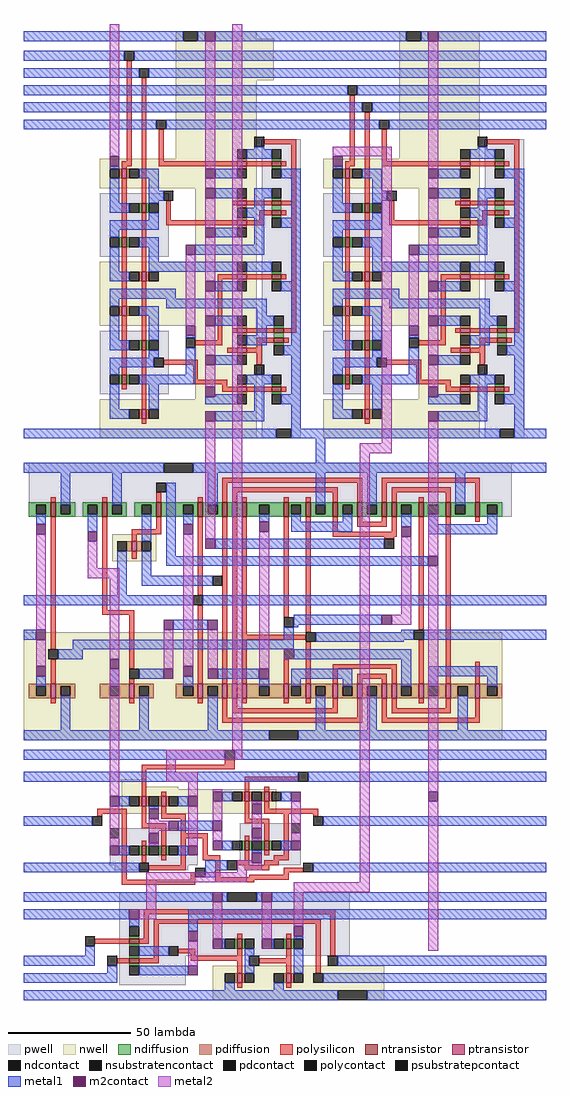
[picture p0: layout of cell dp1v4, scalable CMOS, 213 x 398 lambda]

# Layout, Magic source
magic
tech scmos
<< metal1 >>
rect 166 159 175 163
rect 166 151 175 155
rect 166 144 175 148
rect 166 137 175 141
rect 166 130 175 134
rect 166 123 175 127
rect 166 -3 175 1
rect 166 -17 175 -13
rect 166 -71 175 -67
rect 166 -85 175 -81
rect 156 -126 175 -122
rect 165 -134 175 -130
rect 165 -143 175 -139
rect 127 -161 131 -157
rect 165 -161 175 -157
rect 165 -180 175 -176
rect 159 -192 175 -188
rect 159 -199 175 -195
rect 159 -218 175 -214
rect 159 -225 175 -221
rect 159 -232 175 -228
<< metal2 >>
rect -3 163 1 166
rect 47 159 51 166
rect 36 -7 40 -2
rect 47 -8 51 -3
rect 108 -5 112 -3
rect 99 -9 112 -5
rect 127 -7 131 -3
rect 127 -147 131 -55
rect 127 -212 131 -151
<< m2contact >>
rect 127 -151 131 -147
use reg1  reg1_0
transform 1 0 106 0 1 173
box -144 -176 -18 -10
use rr1  rr1_0
transform 1 0 197 0 1 173
box -113 -176 -31 -10
use mux1  mux1_0
transform 1 0 102 0 1 -161
box -140 -31 64 31
use dp1v2  shift1_0
transform 1 0 11 0 1 -12
box -49 -220 155 13
<< end >>

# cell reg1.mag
magic
tech scmos
<< pwell >>
rect -113 -102 -85 -76
rect -113 -158 -85 -132
rect -47 -176 -31 -54
<< nwell >>
rect -82 -13 -49 -10
rect -82 -30 -42 -13
rect -82 -62 -49 -30
rect -113 -74 -49 -62
rect -74 -104 -49 -74
rect -113 -130 -49 -104
rect -74 -160 -49 -130
rect -113 -176 -49 -160
<< polysilicon >>
rect -102 -63 -100 -22
rect -104 -65 -100 -63
rect -104 -66 -102 -65
rect -104 -94 -102 -70
rect -96 -80 -94 -29
rect -89 -63 -87 -50
rect -46 -56 -33 -54
rect -89 -65 -57 -63
rect -53 -65 -43 -63
rect -39 -65 -37 -63
rect -35 -79 -33 -56
rect -104 -122 -102 -98
rect -96 -108 -94 -84
rect -86 -87 -84 -79
rect -59 -81 -57 -79
rect -53 -81 -43 -79
rect -39 -81 -33 -79
rect -48 -85 -43 -83
rect -39 -85 -37 -83
rect -48 -87 -46 -85
rect -86 -89 -57 -87
rect -53 -89 -46 -87
rect -65 -111 -57 -109
rect -53 -111 -43 -109
rect -39 -111 -37 -109
rect -104 -150 -102 -126
rect -96 -136 -94 -112
rect -65 -136 -63 -111
rect -35 -131 -33 -81
rect -59 -133 -57 -131
rect -53 -133 -42 -131
rect -38 -133 -33 -131
rect -74 -138 -63 -136
rect -49 -137 -42 -135
rect -38 -137 -36 -135
rect -49 -139 -47 -137
rect -104 -156 -102 -154
rect -96 -164 -94 -140
rect -61 -141 -57 -139
rect -53 -141 -47 -139
rect -87 -146 -73 -144
rect -49 -146 -47 -141
rect -75 -152 -73 -146
rect -75 -154 -61 -152
rect -63 -155 -61 -154
rect -63 -157 -57 -155
rect -53 -157 -43 -155
rect -39 -157 -37 -155
rect -96 -170 -94 -168
<< ndiffusion >>
rect -43 -63 -39 -62
rect -43 -66 -39 -65
rect -43 -79 -39 -78
rect -97 -84 -96 -80
rect -94 -84 -93 -80
rect -105 -98 -104 -94
rect -102 -98 -101 -94
rect -43 -83 -39 -81
rect -43 -86 -39 -85
rect -43 -109 -39 -108
rect -97 -140 -96 -136
rect -94 -140 -93 -136
rect -43 -112 -39 -111
rect -42 -131 -38 -130
rect -42 -135 -38 -133
rect -105 -154 -104 -150
rect -102 -154 -101 -150
rect -42 -138 -38 -137
rect -43 -155 -39 -154
rect -43 -158 -39 -157
<< pdiffusion >>
rect -105 -70 -104 -66
rect -102 -70 -101 -66
rect -57 -63 -53 -62
rect -57 -66 -53 -65
rect -57 -79 -53 -78
rect -57 -82 -53 -81
rect -57 -87 -53 -86
rect -57 -90 -53 -89
rect -97 -112 -96 -108
rect -94 -112 -93 -108
rect -57 -109 -53 -108
rect -105 -126 -104 -122
rect -102 -126 -101 -122
rect -57 -112 -53 -111
rect -57 -131 -53 -130
rect -57 -134 -53 -133
rect -57 -139 -53 -138
rect -57 -142 -53 -141
rect -57 -155 -53 -154
rect -57 -158 -53 -157
rect -97 -168 -96 -164
rect -94 -168 -93 -164
<< metal1 >>
rect -144 -14 -79 -10
rect -73 -14 -70 -10
rect -66 -14 -19 -10
rect -144 -22 -103 -18
rect -99 -22 -19 -18
rect -144 -29 -97 -25
rect -93 -29 -22 -25
rect -144 -36 -19 -32
rect -144 -43 -18 -39
rect -144 -50 -90 -46
rect -86 -50 -19 -46
rect -50 -58 -46 -57
rect -53 -62 -43 -58
rect -109 -66 -105 -65
rect -97 -70 -89 -66
rect -66 -70 -57 -66
rect -39 -70 -31 -66
rect -109 -80 -105 -70
rect -93 -75 -89 -70
rect -93 -79 -87 -75
rect -66 -78 -57 -74
rect -50 -78 -43 -74
rect -93 -80 -89 -79
rect -109 -84 -101 -80
rect -50 -82 -46 -78
rect -93 -87 -89 -84
rect -53 -86 -46 -82
rect -35 -86 -31 -70
rect -109 -91 -89 -87
rect -109 -94 -105 -91
rect -66 -94 -57 -90
rect -97 -98 -89 -94
rect -50 -97 -46 -86
rect -39 -90 -31 -86
rect -109 -108 -105 -98
rect -93 -104 -89 -98
rect -74 -101 -46 -97
rect -93 -108 -57 -104
rect -53 -108 -43 -104
rect -109 -112 -101 -108
rect -35 -112 -31 -90
rect -109 -119 -82 -115
rect -66 -116 -57 -112
rect -39 -116 -31 -112
rect -109 -122 -105 -119
rect -97 -126 -89 -122
rect -86 -123 -45 -119
rect -49 -126 -45 -123
rect -109 -136 -105 -126
rect -93 -136 -89 -126
rect -66 -130 -57 -126
rect -49 -130 -42 -126
rect -109 -140 -101 -136
rect -93 -143 -89 -140
rect -49 -134 -45 -130
rect -78 -135 -74 -134
rect -53 -138 -45 -134
rect -35 -138 -31 -116
rect -109 -147 -91 -143
rect -109 -150 -105 -147
rect -78 -150 -74 -139
rect -38 -142 -31 -138
rect -66 -146 -57 -142
rect -97 -154 -74 -150
rect -53 -154 -43 -150
rect -109 -164 -105 -154
rect -93 -164 -89 -154
rect -66 -159 -57 -158
rect -70 -162 -57 -159
rect -109 -168 -101 -164
rect -50 -165 -46 -154
rect -35 -158 -31 -142
rect -39 -162 -31 -158
rect -66 -169 -46 -165
rect -144 -176 -41 -172
rect -35 -176 -31 -162
<< metal2 >>
rect -109 -61 -105 -10
rect -70 -66 -66 -14
rect -70 -74 -66 -70
rect -70 -90 -66 -78
rect -78 -130 -74 -101
rect -70 -112 -66 -94
rect -70 -126 -66 -116
rect -70 -142 -66 -130
rect -70 -155 -66 -146
rect -70 -176 -66 -169
rect -59 -176 -55 -10
<< ntransistor >>
rect -43 -65 -39 -63
rect -96 -84 -94 -80
rect -104 -98 -102 -94
rect -43 -81 -39 -79
rect -43 -85 -39 -83
rect -43 -111 -39 -109
rect -96 -140 -94 -136
rect -42 -133 -38 -131
rect -42 -137 -38 -135
rect -104 -154 -102 -150
rect -43 -157 -39 -155
<< ptransistor >>
rect -104 -70 -102 -66
rect -57 -65 -53 -63
rect -57 -81 -53 -79
rect -57 -89 -53 -87
rect -96 -112 -94 -108
rect -57 -111 -53 -109
rect -104 -126 -102 -122
rect -57 -133 -53 -131
rect -57 -141 -53 -139
rect -57 -157 -53 -155
rect -96 -168 -94 -164
<< polycontact >>
rect -103 -22 -99 -18
rect -97 -29 -93 -25
rect -90 -50 -86 -46
rect -50 -57 -46 -53
rect -87 -79 -83 -75
rect -78 -139 -74 -135
rect -91 -147 -87 -143
rect -50 -150 -46 -146
<< ndcontact >>
rect -43 -62 -39 -58
rect -43 -70 -39 -66
rect -43 -78 -39 -74
rect -101 -84 -97 -80
rect -93 -84 -89 -80
rect -109 -98 -105 -94
rect -101 -98 -97 -94
rect -43 -90 -39 -86
rect -43 -108 -39 -104
rect -101 -140 -97 -136
rect -93 -140 -89 -136
rect -43 -116 -39 -112
rect -42 -130 -38 -126
rect -109 -154 -105 -150
rect -101 -154 -97 -150
rect -42 -142 -38 -138
rect -43 -154 -39 -150
rect -43 -162 -39 -158
<< pdcontact >>
rect -109 -70 -105 -66
rect -101 -70 -97 -66
rect -57 -62 -53 -58
rect -57 -70 -53 -66
rect -57 -78 -53 -74
rect -57 -86 -53 -82
rect -57 -94 -53 -90
rect -57 -108 -53 -104
rect -101 -112 -97 -108
rect -93 -112 -89 -108
rect -109 -126 -105 -122
rect -101 -126 -97 -122
rect -57 -116 -53 -112
rect -57 -130 -53 -126
rect -57 -138 -53 -134
rect -57 -146 -53 -142
rect -57 -154 -53 -150
rect -57 -162 -53 -158
rect -101 -168 -97 -164
rect -93 -168 -89 -164
<< m2contact >>
rect -70 -14 -66 -10
rect -109 -65 -105 -61
rect -70 -70 -66 -66
rect -70 -78 -66 -74
rect -70 -94 -66 -90
rect -78 -101 -74 -97
rect -70 -116 -66 -112
rect -70 -130 -66 -126
rect -78 -134 -74 -130
rect -70 -146 -66 -142
rect -70 -159 -66 -155
rect -70 -169 -66 -165
<< psubstratepcontact >>
rect -41 -176 -35 -172
<< nsubstratencontact >>
rect -79 -14 -73 -10
<< labels >>
rlabel metal2 -68 -174 -68 -174 1 Q
<< end >>

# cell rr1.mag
magic
tech scmos
<< pwell >>
rect -113 -102 -85 -76
rect -113 -158 -85 -132
rect -47 -176 -31 -54
<< nwell >>
rect -82 -62 -49 -10
rect -113 -74 -49 -62
rect -74 -104 -49 -74
rect -113 -130 -49 -104
rect -74 -160 -49 -130
rect -113 -176 -49 -160
<< polysilicon >>
rect -102 -63 -100 -36
rect -104 -65 -100 -63
rect -104 -66 -102 -65
rect -104 -94 -102 -70
rect -96 -80 -94 -43
rect -89 -63 -87 -50
rect -46 -56 -33 -54
rect -89 -65 -57 -63
rect -53 -65 -43 -63
rect -39 -65 -37 -63
rect -35 -79 -33 -56
rect -104 -122 -102 -98
rect -96 -108 -94 -84
rect -86 -87 -84 -79
rect -59 -81 -57 -79
rect -53 -81 -43 -79
rect -39 -81 -33 -79
rect -48 -85 -43 -83
rect -39 -85 -37 -83
rect -48 -87 -46 -85
rect -86 -89 -57 -87
rect -53 -89 -46 -87
rect -65 -111 -57 -109
rect -53 -111 -43 -109
rect -39 -111 -37 -109
rect -104 -150 -102 -126
rect -96 -136 -94 -112
rect -65 -136 -63 -111
rect -35 -131 -33 -81
rect -59 -133 -57 -131
rect -53 -133 -42 -131
rect -38 -133 -33 -131
rect -74 -138 -63 -136
rect -49 -137 -42 -135
rect -38 -137 -36 -135
rect -49 -139 -47 -137
rect -104 -156 -102 -154
rect -96 -164 -94 -140
rect -61 -141 -57 -139
rect -53 -141 -47 -139
rect -87 -146 -73 -144
rect -49 -146 -47 -141
rect -75 -152 -73 -146
rect -75 -154 -61 -152
rect -63 -155 -61 -154
rect -63 -157 -57 -155
rect -53 -157 -43 -155
rect -39 -157 -37 -155
rect -96 -170 -94 -168
<< ndiffusion >>
rect -43 -63 -39 -62
rect -43 -66 -39 -65
rect -43 -79 -39 -78
rect -97 -84 -96 -80
rect -94 -84 -93 -80
rect -105 -98 -104 -94
rect -102 -98 -101 -94
rect -43 -83 -39 -81
rect -43 -86 -39 -85
rect -43 -109 -39 -108
rect -97 -140 -96 -136
rect -94 -140 -93 -136
rect -43 -112 -39 -111
rect -42 -131 -38 -130
rect -42 -135 -38 -133
rect -105 -154 -104 -150
rect -102 -154 -101 -150
rect -42 -138 -38 -137
rect -43 -155 -39 -154
rect -43 -158 -39 -157
<< pdiffusion >>
rect -105 -70 -104 -66
rect -102 -70 -101 -66
rect -57 -63 -53 -62
rect -57 -66 -53 -65
rect -57 -79 -53 -78
rect -57 -82 -53 -81
rect -57 -87 -53 -86
rect -57 -90 -53 -89
rect -97 -112 -96 -108
rect -94 -112 -93 -108
rect -57 -109 -53 -108
rect -105 -126 -104 -122
rect -102 -126 -101 -122
rect -57 -112 -53 -111
rect -57 -131 -53 -130
rect -57 -134 -53 -133
rect -57 -139 -53 -138
rect -57 -142 -53 -141
rect -57 -155 -53 -154
rect -57 -158 -53 -157
rect -97 -168 -96 -164
rect -94 -168 -93 -164
<< metal1 >>
rect -113 -14 -79 -10
rect -73 -14 -70 -10
rect -66 -14 -31 -10
rect -113 -22 -31 -18
rect -113 -29 -31 -25
rect -113 -36 -103 -32
rect -99 -36 -31 -32
rect -113 -43 -97 -39
rect -93 -43 -31 -39
rect -113 -50 -90 -46
rect -86 -50 -31 -46
rect -50 -58 -46 -57
rect -53 -62 -43 -58
rect -109 -66 -105 -65
rect -97 -70 -89 -66
rect -66 -70 -57 -66
rect -39 -70 -31 -66
rect -109 -80 -105 -70
rect -93 -75 -89 -70
rect -93 -79 -87 -75
rect -66 -78 -57 -74
rect -50 -78 -43 -74
rect -93 -80 -89 -79
rect -109 -84 -101 -80
rect -50 -82 -46 -78
rect -93 -87 -89 -84
rect -53 -86 -46 -82
rect -35 -86 -31 -70
rect -109 -91 -89 -87
rect -109 -94 -105 -91
rect -66 -94 -57 -90
rect -97 -98 -89 -94
rect -50 -97 -46 -86
rect -39 -90 -31 -86
rect -109 -108 -105 -98
rect -93 -104 -89 -98
rect -74 -101 -46 -97
rect -93 -108 -57 -104
rect -53 -108 -43 -104
rect -109 -112 -101 -108
rect -35 -112 -31 -90
rect -109 -119 -82 -115
rect -66 -116 -57 -112
rect -39 -116 -31 -112
rect -109 -122 -105 -119
rect -97 -126 -89 -122
rect -86 -123 -45 -119
rect -49 -126 -45 -123
rect -109 -136 -105 -126
rect -93 -136 -89 -126
rect -66 -130 -57 -126
rect -49 -130 -42 -126
rect -109 -140 -101 -136
rect -93 -143 -89 -140
rect -49 -134 -45 -130
rect -78 -135 -74 -134
rect -53 -138 -45 -134
rect -35 -138 -31 -116
rect -109 -147 -91 -143
rect -109 -150 -105 -147
rect -78 -150 -74 -139
rect -38 -142 -31 -138
rect -66 -146 -57 -142
rect -97 -154 -74 -150
rect -53 -154 -43 -150
rect -109 -164 -105 -154
rect -93 -164 -89 -154
rect -66 -159 -57 -158
rect -70 -162 -57 -159
rect -109 -168 -101 -164
rect -50 -165 -46 -154
rect -35 -158 -31 -142
rect -39 -162 -31 -158
rect -66 -169 -46 -165
rect -113 -176 -41 -172
rect -35 -176 -31 -162
<< metal2 >>
rect -109 -61 -85 -57
rect -89 -176 -85 -61
rect -70 -66 -66 -14
rect -70 -74 -66 -70
rect -70 -90 -66 -78
rect -78 -130 -74 -101
rect -70 -112 -66 -94
rect -70 -126 -66 -116
rect -70 -142 -66 -130
rect -70 -155 -66 -146
rect -70 -176 -66 -169
<< ntransistor >>
rect -43 -65 -39 -63
rect -96 -84 -94 -80
rect -104 -98 -102 -94
rect -43 -81 -39 -79
rect -43 -85 -39 -83
rect -43 -111 -39 -109
rect -96 -140 -94 -136
rect -42 -133 -38 -131
rect -42 -137 -38 -135
rect -104 -154 -102 -150
rect -43 -157 -39 -155
<< ptransistor >>
rect -104 -70 -102 -66
rect -57 -65 -53 -63
rect -57 -81 -53 -79
rect -57 -89 -53 -87
rect -96 -112 -94 -108
rect -57 -111 -53 -109
rect -104 -126 -102 -122
rect -57 -133 -53 -131
rect -57 -141 -53 -139
rect -57 -157 -53 -155
rect -96 -168 -94 -164
<< polycontact >>
rect -103 -36 -99 -32
rect -97 -43 -93 -39
rect -90 -50 -86 -46
rect -50 -57 -46 -53
rect -87 -79 -83 -75
rect -78 -139 -74 -135
rect -91 -147 -87 -143
rect -50 -150 -46 -146
<< ndcontact >>
rect -43 -62 -39 -58
rect -43 -70 -39 -66
rect -43 -78 -39 -74
rect -101 -84 -97 -80
rect -93 -84 -89 -80
rect -109 -98 -105 -94
rect -101 -98 -97 -94
rect -43 -90 -39 -86
rect -43 -108 -39 -104
rect -101 -140 -97 -136
rect -93 -140 -89 -136
rect -43 -116 -39 -112
rect -42 -130 -38 -126
rect -109 -154 -105 -150
rect -101 -154 -97 -150
rect -42 -142 -38 -138
rect -43 -154 -39 -150
rect -43 -162 -39 -158
<< pdcontact >>
rect -109 -70 -105 -66
rect -101 -70 -97 -66
rect -57 -62 -53 -58
rect -57 -70 -53 -66
rect -57 -78 -53 -74
rect -57 -86 -53 -82
rect -57 -94 -53 -90
rect -57 -108 -53 -104
rect -101 -112 -97 -108
rect -93 -112 -89 -108
rect -109 -126 -105 -122
rect -101 -126 -97 -122
rect -57 -116 -53 -112
rect -57 -130 -53 -126
rect -57 -138 -53 -134
rect -57 -146 -53 -142
rect -57 -154 -53 -150
rect -57 -162 -53 -158
rect -101 -168 -97 -164
rect -93 -168 -89 -164
<< m2contact >>
rect -70 -14 -66 -10
rect -109 -65 -105 -61
rect -70 -70 -66 -66
rect -70 -78 -66 -74
rect -70 -94 -66 -90
rect -78 -101 -74 -97
rect -70 -116 -66 -112
rect -70 -130 -66 -126
rect -78 -134 -74 -130
rect -70 -146 -66 -142
rect -70 -159 -66 -155
rect -70 -169 -66 -165
<< psubstratepcontact >>
rect -41 -176 -35 -172
<< nsubstratencontact >>
rect -79 -14 -73 -10
<< labels >>
rlabel metal2 -68 -174 -68 -174 1 Q
rlabel metal2 -87 -174 -87 -174 1 D
<< end >>

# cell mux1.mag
magic
tech scmos
<< pwell >>
rect -105 -16 -69 -1
rect -52 -16 -27 1
rect -103 -18 -73 -16
<< nwell >>
rect -100 16 -90 19
rect -100 15 -77 16
rect -100 5 -37 15
<< polysilicon >>
rect -58 25 -54 27
rect -92 23 -54 25
rect -92 12 -90 23
rect -50 18 -28 20
rect -50 14 -48 18
rect -42 14 -40 16
rect -84 12 -82 14
rect -110 5 -98 7
rect -110 4 -108 5
rect -100 -22 -98 5
rect -92 1 -90 8
rect -84 5 -82 8
rect -84 3 -74 5
rect -92 -1 -82 1
rect -92 -8 -90 -6
rect -84 -8 -82 -1
rect -76 -3 -74 3
rect -50 3 -48 10
rect -42 7 -40 10
rect -42 5 -20 7
rect -50 1 -40 3
rect -76 -5 -65 -3
rect -92 -15 -90 -12
rect -84 -14 -82 -12
rect -76 -16 -74 -5
rect -67 -12 -65 -5
rect -50 -6 -48 -4
rect -42 -6 -40 1
rect -67 -14 -60 -12
rect -50 -14 -48 -10
rect -42 -12 -40 -10
rect -34 -12 -32 5
rect -22 4 -20 5
rect -38 -14 -32 -12
rect -89 -18 -74 -16
rect -72 -22 -70 -19
rect -62 -21 -60 -14
rect -53 -16 -48 -14
rect -42 -16 -36 -14
rect -50 -18 -40 -16
rect -34 -19 -26 -17
rect -34 -20 -32 -19
rect -48 -21 -32 -20
rect -100 -24 -70 -22
rect -62 -22 -32 -21
rect -62 -23 -46 -22
<< ndiffusion >>
rect -93 -12 -92 -8
rect -90 -12 -89 -8
rect -85 -12 -84 -8
rect -82 -12 -81 -8
rect -51 -10 -50 -6
rect -48 -10 -47 -6
rect -43 -10 -42 -6
rect -40 -10 -39 -6
<< pdiffusion >>
rect -93 8 -92 12
rect -90 8 -89 12
rect -85 8 -84 12
rect -82 8 -81 12
rect -51 10 -50 14
rect -48 10 -47 14
rect -43 10 -42 14
rect -40 10 -39 14
<< metal1 >>
rect -140 27 -58 31
rect -54 27 64 31
rect -140 18 -28 22
rect -24 18 64 22
rect -101 8 -97 12
rect -77 8 -73 12
rect -59 10 -55 14
rect -35 10 -31 14
rect -47 9 -43 10
rect -89 7 -85 8
rect -140 0 -112 4
rect -77 -2 -63 2
rect -18 0 64 4
rect -47 -6 -43 -5
rect -89 -8 -85 -7
rect -101 -12 -97 -8
rect -77 -12 -73 -8
rect -59 -10 -55 -6
rect -35 -10 -31 -6
rect -47 -11 -43 -10
rect -140 -19 -93 -15
rect -66 -18 -57 -14
rect -66 -21 -62 -18
rect -22 -19 64 -15
<< metal2 >>
rect -82 27 -51 31
rect -105 12 -101 26
rect -82 22 -78 27
rect -82 18 -69 22
rect -105 -8 -101 8
rect -73 12 -69 18
rect -89 2 -85 3
rect -89 -2 -81 2
rect -89 -3 -85 -2
rect -89 -8 -85 -7
rect -73 -8 -69 8
rect -63 14 -59 15
rect -63 2 -59 10
rect -63 -6 -59 -2
rect -47 9 -43 10
rect -47 -1 -43 5
rect -47 -6 -43 -5
rect -31 -6 -27 10
rect -53 -15 -47 -14
rect -53 -18 -43 -15
rect -53 -19 -49 -18
rect -90 -23 -49 -19
rect -90 -27 -86 -23
<< ntransistor >>
rect -92 -12 -90 -8
rect -84 -12 -82 -8
rect -50 -10 -48 -6
rect -42 -10 -40 -6
<< ptransistor >>
rect -92 8 -90 12
rect -84 8 -82 12
rect -50 10 -48 14
rect -42 10 -40 14
<< polycontact >>
rect -58 27 -54 31
rect -28 18 -24 22
rect -112 0 -108 4
rect -93 -19 -89 -15
rect -22 0 -18 4
rect -70 -21 -66 -17
rect -57 -18 -53 -14
rect -26 -19 -22 -15
<< ndcontact >>
rect -97 -12 -93 -8
rect -89 -12 -85 -8
rect -81 -12 -77 -8
rect -55 -10 -51 -6
rect -47 -10 -43 -6
rect -39 -10 -35 -6
<< pdcontact >>
rect -97 8 -93 12
rect -89 8 -85 12
rect -81 8 -77 12
rect -55 10 -51 14
rect -47 10 -43 14
rect -39 10 -35 14
<< m2contact >>
rect -105 8 -101 12
rect -73 8 -69 12
rect -63 10 -59 14
rect -31 10 -27 14
rect -89 3 -85 7
rect -47 5 -43 9
rect -81 -2 -77 2
rect -63 -2 -59 2
rect -89 -7 -85 -3
rect -47 -5 -43 -1
rect -105 -12 -101 -8
rect -73 -12 -69 -8
rect -63 -10 -59 -6
rect -31 -10 -27 -6
rect -47 -15 -43 -11
<< psubstratepcontact >>
rect -105 -5 -101 -1
rect -31 -3 -27 1
<< end >>

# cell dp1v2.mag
magic
tech scmos
<< pwell >>
rect -10 -202 84 -176
rect -10 -214 17 -202
<< nwell >>
rect 28 -220 98 -206
<< polysilicon >>
rect 0 -185 78 -183
rect 0 -195 2 -185
rect -20 -197 -6 -195
rect -2 -197 2 -195
rect 4 -189 72 -187
rect 4 -203 6 -189
rect 38 -195 40 -193
rect 58 -195 60 -193
rect 14 -201 21 -199
rect 19 -202 21 -201
rect 38 -202 40 -199
rect -11 -205 -6 -203
rect -2 -205 6 -203
rect 19 -204 40 -202
rect 38 -209 40 -204
rect 58 -203 60 -199
rect 47 -205 60 -203
rect 58 -209 60 -205
rect 70 -209 72 -189
rect 76 -202 78 -185
rect 38 -215 40 -213
rect 58 -215 60 -213
<< ndiffusion >>
rect -6 -195 -2 -194
rect -6 -198 -2 -197
rect -6 -203 -2 -202
rect 37 -199 38 -195
rect 40 -199 41 -195
rect 57 -199 58 -195
rect 60 -199 61 -195
rect -6 -206 -2 -205
<< pdiffusion >>
rect 37 -213 38 -209
rect 40 -213 41 -209
rect 57 -213 58 -209
rect 60 -213 61 -209
<< metal1 >>
rect -49 -180 28 -176
rect 32 -180 34 -176
rect 46 -180 48 -176
rect 52 -180 150 -176
rect -49 -187 -6 -183
rect -6 -190 -2 -187
rect 18 -187 149 -183
rect 18 -192 22 -187
rect 61 -195 65 -194
rect -24 -202 -20 -198
rect -2 -202 10 -198
rect 32 -199 33 -195
rect 52 -199 53 -195
rect 41 -202 45 -199
rect -49 -206 -20 -202
rect 41 -206 43 -202
rect -15 -209 -11 -206
rect -49 -213 -11 -209
rect -2 -210 18 -206
rect 41 -209 45 -206
rect 61 -209 65 -199
rect 79 -206 148 -202
rect 73 -213 148 -209
rect 33 -216 37 -213
rect 53 -216 57 -213
rect -49 -220 79 -216
rect 91 -220 148 -216
<< metal2 >>
rect 88 -172 92 -117
rect 61 -176 92 -172
rect 1 -183 5 -176
rect -2 -187 5 -183
rect 18 -206 22 -196
rect 28 -195 32 -180
rect 48 -195 52 -180
rect 61 -190 65 -176
<< ntransistor >>
rect -6 -197 -2 -195
rect 38 -199 40 -195
rect 58 -199 60 -195
rect -6 -205 -2 -203
<< ptransistor >>
rect 38 -213 40 -209
rect 58 -213 60 -209
<< polycontact >>
rect -24 -198 -20 -194
rect -15 -206 -11 -202
rect 10 -202 14 -198
rect 43 -206 47 -202
rect 75 -206 79 -202
rect 69 -213 73 -209
<< ndcontact >>
rect -6 -194 -2 -190
rect -6 -202 -2 -198
rect 33 -199 37 -195
rect 41 -199 45 -195
rect 53 -199 57 -195
rect 61 -199 65 -195
rect -6 -210 -2 -206
<< pdcontact >>
rect 33 -213 37 -209
rect 41 -213 45 -209
rect 53 -213 57 -209
rect 61 -213 65 -209
<< m2contact >>
rect 28 -180 32 -176
rect 48 -180 52 -176
rect -6 -187 -2 -183
rect 18 -196 22 -192
rect 61 -194 65 -190
rect 28 -199 32 -195
rect 48 -199 52 -195
rect 18 -210 22 -206
<< psubstratepcontact >>
rect 34 -180 46 -176
<< nsubstratencontact >>
rect 79 -220 91 -216
use addsub  addsub_0
transform 1 0 58 0 1 -66
box -107 -57 97 79
<< labels >>
rlabel metal2 63 -178 63 -178 5 OUT0
rlabel metal2 3 -178 3 -178 5 IN0
<< end >>

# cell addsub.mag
magic
tech scmos
<< pwell >>
rect -105 43 92 65
<< nwell >>
rect -71 25 -53 36
rect -107 -48 88 -4
<< polysilicon >>
rect -26 57 31 59
rect -96 49 -94 51
rect -75 49 -73 51
rect -53 49 -51 53
rect -36 49 -34 51
rect -26 49 -24 57
rect -22 53 21 55
rect -22 49 -20 53
rect -18 49 -16 51
rect -1 49 1 51
rect 8 49 10 51
rect 19 49 21 53
rect 29 49 31 57
rect 39 57 79 59
rect 39 49 41 57
rect 43 53 67 55
rect 43 49 45 53
rect 54 49 56 51
rect 65 49 67 53
rect 77 49 79 57
rect -96 -11 -94 43
rect -75 5 -73 43
rect -53 38 -51 43
rect -63 36 -51 38
rect -63 33 -61 36
rect -63 26 -61 29
rect -36 11 -34 43
rect -75 3 -62 5
rect -96 -25 -94 -15
rect -64 -19 -62 3
rect -64 -25 -62 -23
rect -36 -25 -34 7
rect -26 -25 -24 43
rect -22 -25 -20 43
rect -18 -5 -16 43
rect -1 2 1 43
rect 8 -4 10 43
rect 19 37 21 43
rect 29 41 31 43
rect 39 41 41 43
rect 29 39 41 41
rect 43 37 45 43
rect 19 35 45 37
rect 40 34 44 35
rect 54 -3 56 43
rect -18 -7 8 -5
rect -18 -25 -16 -7
rect -1 -25 1 -15
rect 8 -25 10 -8
rect 19 -19 45 -17
rect 19 -25 21 -19
rect 29 -23 41 -21
rect 29 -25 31 -23
rect 39 -25 41 -23
rect 43 -25 45 -19
rect 54 -25 56 -7
rect 65 -25 67 43
rect 77 41 79 43
rect 77 -25 79 -16
rect -96 -33 -94 -31
rect -64 -33 -62 -31
rect -36 -33 -34 -31
rect -26 -39 -24 -31
rect -22 -35 -20 -31
rect -18 -33 -16 -31
rect -1 -33 1 -31
rect 8 -33 10 -31
rect 19 -35 21 -31
rect -22 -37 21 -35
rect 29 -39 31 -31
rect -26 -41 31 -39
rect 39 -39 41 -31
rect 43 -35 45 -31
rect 54 -33 56 -31
rect 65 -35 67 -31
rect 43 -37 67 -35
rect 77 -39 79 -31
rect 39 -41 79 -39
<< ndiffusion >>
rect -105 48 -96 49
rect -105 44 -102 48
rect -98 44 -96 48
rect -105 43 -96 44
rect -94 48 -86 49
rect -94 44 -92 48
rect -88 44 -86 48
rect -94 43 -86 44
rect -83 48 -75 49
rect -83 44 -81 48
rect -77 44 -75 48
rect -83 43 -75 44
rect -73 48 -65 49
rect -73 44 -71 48
rect -67 44 -65 48
rect -73 43 -65 44
rect -62 48 -53 49
rect -62 44 -59 48
rect -55 44 -53 48
rect -62 43 -53 44
rect -51 48 -36 49
rect -51 44 -42 48
rect -38 44 -36 48
rect -51 43 -36 44
rect -34 48 -26 49
rect -34 44 -32 48
rect -28 44 -26 48
rect -34 43 -26 44
rect -24 43 -22 49
rect -20 43 -18 49
rect -16 48 -1 49
rect -16 44 -11 48
rect -7 44 -1 48
rect -16 43 -1 44
rect 1 48 8 49
rect 1 44 2 48
rect 6 44 8 48
rect 1 43 8 44
rect 10 48 19 49
rect 10 44 12 48
rect 16 44 19 48
rect 10 43 19 44
rect 21 48 29 49
rect 21 44 23 48
rect 27 44 29 48
rect 21 43 29 44
rect 31 48 39 49
rect 31 44 33 48
rect 37 44 39 48
rect 31 43 39 44
rect 41 43 43 49
rect 45 48 54 49
rect 45 44 47 48
rect 51 44 54 48
rect 45 43 54 44
rect 56 48 65 49
rect 56 44 58 48
rect 62 44 65 48
rect 56 43 65 44
rect 67 48 77 49
rect 67 44 69 48
rect 73 44 77 48
rect 67 43 77 44
rect 79 48 88 49
rect 79 44 82 48
rect 86 44 88 48
rect 79 43 88 44
<< pdiffusion >>
rect -65 29 -63 33
rect -61 29 -59 33
rect -105 -26 -96 -25
rect -105 -30 -102 -26
rect -98 -30 -96 -26
rect -105 -31 -96 -30
rect -94 -26 -86 -25
rect -94 -30 -92 -26
rect -88 -30 -86 -26
rect -94 -31 -86 -30
rect -76 -26 -64 -25
rect -76 -30 -72 -26
rect -68 -30 -64 -26
rect -76 -31 -64 -30
rect -62 -26 -54 -25
rect -62 -30 -60 -26
rect -56 -30 -54 -26
rect -62 -31 -54 -30
rect -45 -26 -36 -25
rect -45 -30 -42 -26
rect -38 -30 -36 -26
rect -45 -31 -36 -30
rect -34 -26 -26 -25
rect -34 -30 -32 -26
rect -28 -30 -26 -26
rect -34 -31 -26 -30
rect -24 -31 -22 -25
rect -20 -31 -18 -25
rect -16 -26 -1 -25
rect -16 -30 -11 -26
rect -7 -30 -1 -26
rect -16 -31 -1 -30
rect 1 -26 8 -25
rect 1 -30 2 -26
rect 6 -30 8 -26
rect 1 -31 8 -30
rect 10 -26 19 -25
rect 10 -30 12 -26
rect 16 -30 19 -26
rect 10 -31 19 -30
rect 21 -26 29 -25
rect 21 -30 23 -26
rect 27 -30 29 -26
rect 21 -31 29 -30
rect 31 -26 39 -25
rect 31 -30 33 -26
rect 37 -30 39 -26
rect 31 -31 39 -30
rect 41 -31 43 -25
rect 45 -26 54 -25
rect 45 -30 47 -26
rect 51 -30 54 -26
rect 45 -31 54 -30
rect 56 -26 65 -25
rect 56 -30 58 -26
rect 62 -30 65 -26
rect 56 -31 65 -30
rect 67 -26 77 -25
rect 67 -31 70 -26
rect 74 -31 77 -26
rect 79 -26 88 -25
rect 79 -30 82 -26
rect 86 -30 88 -26
rect 79 -31 88 -30
<< metal1 >>
rect 6 75 19 79
rect 12 65 16 75
rect -107 61 -50 65
rect -38 61 97 65
rect -92 48 -88 61
rect -71 48 -67 61
rect -102 40 -98 44
rect -81 37 -77 44
rect -59 33 -55 44
rect -69 11 -65 29
rect -59 19 -55 29
rect -49 27 -45 57
rect -32 48 -28 61
rect 12 48 16 61
rect 33 48 37 61
rect 69 48 73 61
rect -42 40 -38 44
rect -11 41 -7 44
rect 2 41 6 44
rect 23 41 27 44
rect 2 37 27 41
rect 47 39 51 44
rect 58 40 62 44
rect 82 40 86 44
rect 58 36 86 40
rect -29 30 40 34
rect -49 23 58 27
rect -59 15 -30 19
rect -107 7 -38 11
rect -34 7 97 11
rect -46 -3 -32 1
rect 3 -1 39 3
rect 3 -2 5 -1
rect -107 -7 -102 -3
rect -1 -7 3 -2
rect 47 -4 52 -3
rect -87 -11 3 -7
rect 12 -7 52 -4
rect 56 -7 97 -3
rect 12 -8 48 -7
rect -93 -15 -83 -11
rect 3 -15 51 -11
rect -102 -26 -98 -22
rect -72 -26 -68 -19
rect -60 -23 -50 -19
rect -42 -26 -38 -22
rect -28 -23 -11 -19
rect -11 -26 -7 -23
rect 2 -23 27 -19
rect 2 -26 6 -23
rect 23 -26 27 -23
rect 47 -26 51 -15
rect 58 -22 86 -18
rect 58 -26 62 -22
rect 82 -26 86 -22
rect -92 -44 -88 -30
rect -60 -44 -56 -30
rect -32 -44 -28 -30
rect 12 -44 16 -30
rect 33 -44 37 -30
rect 70 -44 74 -30
rect -107 -48 -7 -44
rect 5 -48 88 -44
<< metal2 >>
rect -102 -3 -98 36
rect -81 22 -77 33
rect -81 18 -68 22
rect -102 -18 -98 -7
rect -72 -15 -68 18
rect -72 -57 -68 -19
rect -50 -19 -46 -3
rect -42 -18 -38 36
rect -33 34 -29 71
rect -32 -19 -28 -3
rect -22 -56 -18 71
rect -11 -19 -7 37
rect -1 -15 3 -11
rect 30 -52 34 69
rect 47 3 51 35
rect 58 27 62 71
rect 43 -1 51 3
<< ntransistor >>
rect -96 43 -94 49
rect -75 43 -73 49
rect -53 43 -51 49
rect -36 43 -34 49
rect -26 43 -24 49
rect -22 43 -20 49
rect -18 43 -16 49
rect -1 43 1 49
rect 8 43 10 49
rect 19 43 21 49
rect 29 43 31 49
rect 39 43 41 49
rect 43 43 45 49
rect 54 43 56 49
rect 65 43 67 49
rect 77 43 79 49
<< ptransistor >>
rect -63 29 -61 33
rect -96 -31 -94 -25
rect -64 -31 -62 -25
rect -36 -31 -34 -25
rect -26 -31 -24 -25
rect -22 -31 -20 -25
rect -18 -31 -16 -25
rect -1 -31 1 -25
rect 8 -31 10 -25
rect 19 -31 21 -25
rect 29 -31 31 -25
rect 39 -31 41 -25
rect 43 -31 45 -25
rect 54 -31 56 -25
rect 65 -31 67 -25
rect 77 -31 79 -25
<< polycontact >>
rect -53 53 -49 57
rect -30 15 -26 19
rect -38 7 -34 11
rect -97 -15 -93 -11
rect -64 -23 -60 -19
rect -1 -2 3 2
rect 40 30 44 34
rect 8 -8 12 -4
rect 52 -7 56 -3
rect -1 -15 3 -11
<< ndcontact >>
rect -102 44 -98 48
rect -92 44 -88 48
rect -81 44 -77 48
rect -71 44 -67 48
rect -59 44 -55 48
rect -42 44 -38 48
rect -32 44 -28 48
rect -11 44 -7 48
rect 2 44 6 48
rect 12 44 16 48
rect 23 44 27 48
rect 33 44 37 48
rect 47 44 51 48
rect 58 44 62 48
rect 69 44 73 48
rect 82 44 86 48
<< pdcontact >>
rect -69 29 -65 33
rect -59 29 -55 33
rect -102 -30 -98 -26
rect -92 -30 -88 -26
rect -72 -30 -68 -26
rect -60 -30 -56 -26
rect -42 -30 -38 -26
rect -32 -30 -28 -26
rect -11 -30 -7 -26
rect 2 -30 6 -26
rect 12 -30 16 -26
rect 23 -30 27 -26
rect 33 -30 37 -26
rect 47 -30 51 -26
rect 58 -30 62 -26
rect 70 -30 74 -26
rect 82 -30 86 -26
<< m2contact >>
rect -102 36 -98 40
rect -81 33 -77 37
rect -42 36 -38 40
rect -11 37 -7 41
rect 47 35 51 39
rect -33 30 -29 34
rect 58 23 62 27
rect -50 -3 -46 1
rect -32 -3 -28 1
rect 39 -1 43 3
rect -102 -7 -98 -3
rect -102 -22 -98 -18
rect -72 -19 -68 -15
rect -50 -23 -46 -19
rect -42 -22 -38 -18
rect -32 -23 -28 -19
rect -11 -23 -7 -19
<< psubstratepcontact >>
rect -50 61 -38 65
<< nsubstratencontact >>
rect -7 -48 5 -44
<< labels >>
rlabel metal2 -33 71 -29 71 5 B
rlabel metal2 30 69 34 69 5 fromShift
rlabel metal2 58 71 62 71 1 A
rlabel metal1 96 7 96 11 7 Add
rlabel metal1 96 -7 96 -3 7 C
rlabel metal2 -72 -57 -68 -57 1 Z
rlabel metal1 -107 61 -107 65 1 Gnd
rlabel metal1 -107 -48 -107 -44 1 Vdd
rlabel metal1 -107 -7 -107 -3 3 x
<< end >>
